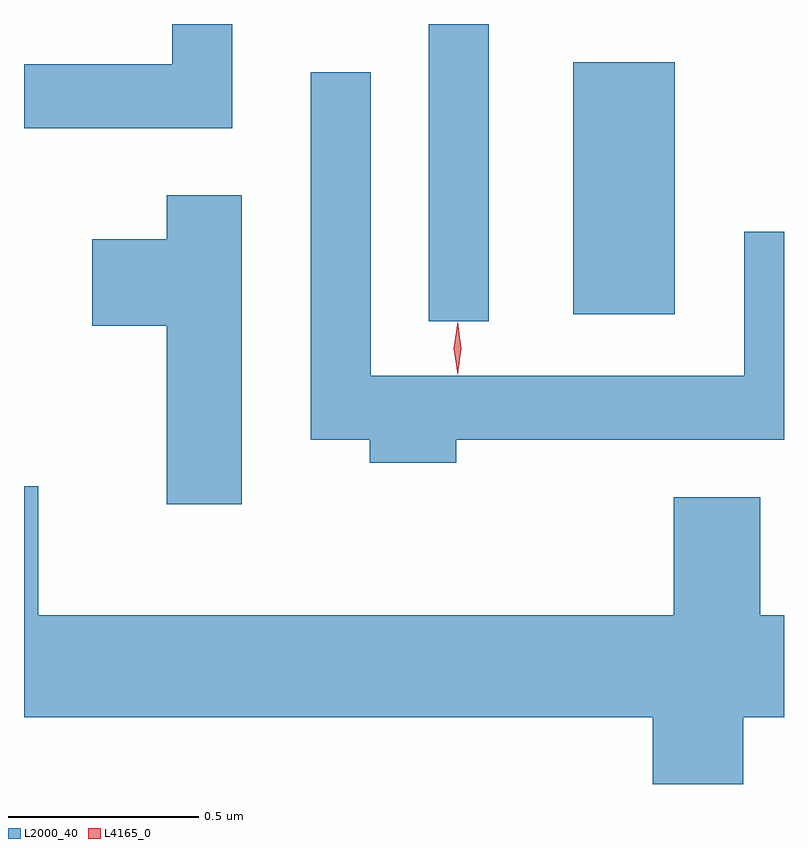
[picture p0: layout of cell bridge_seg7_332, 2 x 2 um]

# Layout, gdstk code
import gdstk
lib = gdstk.Library(unit=1e-6, precision=1e-09)
def R(c, l, rs):  # rectangles x0, y0, x1, y1
    for r in rs: c.add(gdstk.rectangle(r[:2], r[2:], *l))
def P(c, l, *ps):  # polygons
    for p in ps: c.add(gdstk.Polygon(p, *l))
L2000_40 = (2000, 40)
L4165_0 = (4165, 0)

bridge_seg7_332 = lib.new_cell('bridge_seg7_332')
R(bridge_seg7_332, L2000_40, [(1198.706,1775.298,1198.864,1776.08), (1199.086,1775.316,1199.354,1775.979)])
P(bridge_seg7_332, L2000_40, [(1198.189,1776.08),(1198.031,1776.08),(1198.031,1775.974),(1197.641,1775.974),(1197.641,1775.806),(1198.189,1775.806)],
  [(1198.779,1774.986),(1199.641,1774.986),(1199.641,1775.533),(1199.536,1775.533),(1199.536,1775.154),(1198.554,1775.154),(1198.554,1775.953),(1198.396,1775.953),(1198.396,1774.986),(1198.551,1774.986),(1198.551,1774.926),(1198.779,1774.926)],
  [(1198.214,1775.629),(1198.016,1775.629),(1198.016,1775.514),(1197.821,1775.514),(1197.821,1775.286),(1198.016,1775.286),(1198.016,1774.816),(1198.214,1774.816)],
  [(1199.534,1774.256),(1199.641,1774.256),(1199.641,1774.524),(1199.579,1774.524),(1199.579,1774.834),(1199.351,1774.834),(1199.351,1774.524),(1197.679,1774.524),(1197.679,1774.864),(1197.641,1774.864),(1197.641,1774.256),(1199.296,1774.256),(1199.296,1774.08),(1199.534,1774.08)])
P(bridge_seg7_332, L4165_0, [(1198.782,1775.157),(1198.782,1775.157),(1198.772,1775.227),(1198.782,1775.296),(1198.782,1775.296),(1198.783,1775.296),(1198.792,1775.227),(1198.783,1775.157)],
  [(1198.782,1775.159),(1198.782,1775.16),(1198.772,1775.226),(1198.782,1775.293),(1198.782,1775.293),(1198.782,1775.293),(1198.792,1775.226),(1198.782,1775.16)])

lib.write_gds('bridge_seg7_332.gds')
